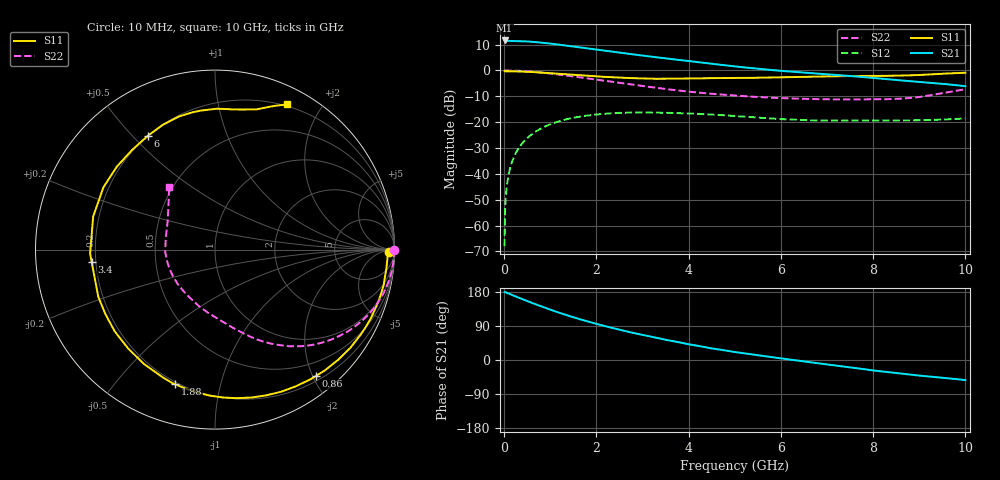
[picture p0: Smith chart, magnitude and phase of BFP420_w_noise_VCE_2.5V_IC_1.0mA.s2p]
! Infineon Technologies  Discrete & RF Semiconductors
! BFP420
! VCE =  2.5 V,  IC =  1.0 mA
! Common Emitter S-Parameters:  Jan 2016
# GHz  S  MA  R  50
!  f  S11  S21  S12  S22
! GHz  MAG  ANG  MAG  ANG  MAG  ANG  MAG  ANG
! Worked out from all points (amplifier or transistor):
!   233 points, 10 MHz to 10 GHz, reference 50 ohm
!   highest |S21| = 11.6 dB at 10 MHz (marker M1)
!   |S21| within 3 dB of that: start of sweep to 1.783 GHz
!   unconditionally stable (mu >= 1): 4.301 GHz to end of sweep
!   at 200 MHz: K = 0.01, MSG = 22.7 dB, |S12| = -34.0 dB
!   at 1.74 GHz: K = 0.28, MSG = 13.1 dB, |S12| = -17.6 dB
!   at 10 GHz: K = 1.36, MAG = 2.7 dB, |S12| = -18.6 dB
!   lowest NFmin = 0.53 dB at 900 MHz
!   S11 on the Smith chart (normalised r, x): 10 MHz: 57, -28; 860 MHz: 0.27, -2.05; 1.88 GHz: 0.19, -0.73; 3.4 GHz: 0.18, -0.05; 6 GHz: 0.20, +0.55; 10 GHz: 0.18, +1.59
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0.01  0.9722 -0.8  3.793 179.2  0.0004 73.5  0.9978 -0.1
0.015  0.9671 -1.0  3.73 179.3  0.0012 89.0  0.9976 -0.3
0.02  0.9621 -1.3  3.667 179.4  0.002 92.1  0.9974 -0.6
0.04  0.9622 -2.2  3.683 178.2  0.0041 88.9  0.9974 -1.3
0.085  0.961 -5.0  3.711 175.9  0.0085 87.2  0.9968 -2.9
0.16  0.9589 -9.6  3.719 172.2  0.016 84.6  0.994 -5.3
0.28  0.9552 -16.8  3.698 166.2  0.0279 80.0  0.9862 -9.4
0.45  0.9448 -27.0  3.653 158.1  0.0444 73.9  0.9685 -14.9
0.64  0.9263 -38.3  3.555 148.9  0.0618 66.7  0.9395 -20.9
0.86  0.9013 -51.3  3.404 138.8  0.0802 59.1  0.8991 -27.4
1.2  0.8607 -70.7  3.142 124.3  0.1045 48.0  0.8287 -36.6
1.68  0.8034 -96.4  2.77 106.2  0.1295 33.9  0.7271 -47.7
1.88  0.7825 -106.6  2.618 99.3  0.1369 28.6  0.6869 -51.7
2.2  0.75 -122.0  2.4 88.9  0.1459 20.8  0.6272 -57.5
2.6  0.7208 -140.9  2.154 76.9  0.1523 11.7  0.5581 -64.4
3.4  0.6904 -174.1  1.749 56.1  0.1521 -3.1  0.4487 -76.8
4  0.7034 164.8  1.52 41.5  0.1473 -11.7  0.3886 -87.0
5.1  0.7156 137.8  1.17 19.4  0.1299 -22.6  0.3224 -107.7
6  0.7358 120.7  0.982 4.3  0.1143 -26.0  0.2915 -126.2
6.8  0.7609 108.2  0.865 -8.5  0.1079 -25.3  0.2781 -144.3
8.4  0.7879 82.5  0.664 -33.2  0.1079 -24.5  0.2792 170.1
10  0.9018 63.7  0.496 -53.0  0.1178 -22.6  0.4337 126.1
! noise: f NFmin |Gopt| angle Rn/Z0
0.9  0.53  0.67  34  0.35
1.8  1.15  0.44  77  0.27
2.4  1.28  0.44  100  0.22
3  1.61  0.45  131  0.15
4  1.9  0.47  -177  0.09
5  2.32  0.44  -133  0.45
6  3.43  0.6  -118  0.25
